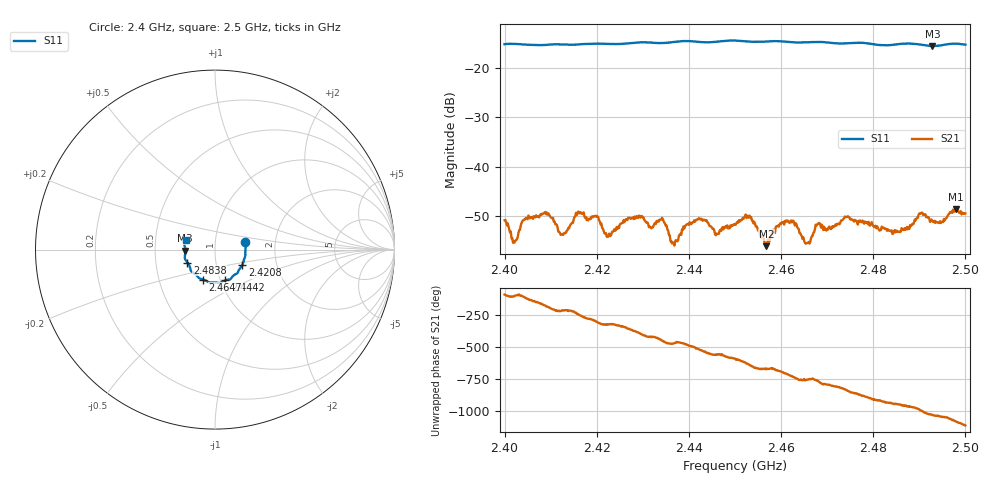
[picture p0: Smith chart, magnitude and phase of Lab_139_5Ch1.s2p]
# Hz S RI R 50
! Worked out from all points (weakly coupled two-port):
!   601 points, 2.4 GHz to 2.5 GHz, reference 50 ohm
!   highest |S21| = -48.57 dB at 2.498 GHz (marker M1); lowest = -56.1 dB at 2.4568 GHz (marker M2)
!   lowest |S11| = -15.6 dB at 2.4928 GHz (marker M3), VSWR 1.40, Z = 35.8 - j0.372 ohm
!   |S11| at or under -10 dB: start of sweep to end of sweep
!   S12 and S22 are empty: the file has one direction only
!   S11 on the Smith chart (normalised r, x): 2.4 GHz: 1.40, +0.12; 2.4208 GHz: 1.33, -0.24; 2.4442 GHz: 1.05, -0.37; 2.4647 GHz: 0.83, -0.29; 2.4838 GHz: 0.73, -0.11; 2.5 GHz: 0.72, +0.08
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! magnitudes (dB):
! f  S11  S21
! 2.4 GHz  -15.3  -50.9
! 2.4022 GHz  -15.2  -55.4
! 2.4048 GHz  -15.4  -50.5
! 2.4092 GHz  -15.4  -49.3
! 2.4127 GHz  -15.3  -53.8
! 2.4167 GHz  -15.2  -49.5
! 2.4208 GHz  -15.1  -51.7
! 2.4333 GHz  -15.0  -50.9
! 2.4365 GHz  -14.8  -55.4
! 2.4442 GHz  -14.9  -51.4
! 2.45 GHz  -14.5  -51.8
! 2.4532 GHz  -14.7  -49.9
! 2.4568 GHz  -14.7  -56.1
! 2.461 GHz  -14.7  -51.2
! 2.4647 GHz  -14.9  -54.6
! 2.4667 GHz  -14.8  -54.1
! 2.4743 GHz  -15.1  -50.2
! 2.4833 GHz  -15.5  -52.9
! 2.4838 GHz  -15.4  -53.1
! 2.4928 GHz  -15.6  -51.1
! 2.498 GHz  -15.1  -48.6
! 2.5 GHz  -15.3  -49.5
